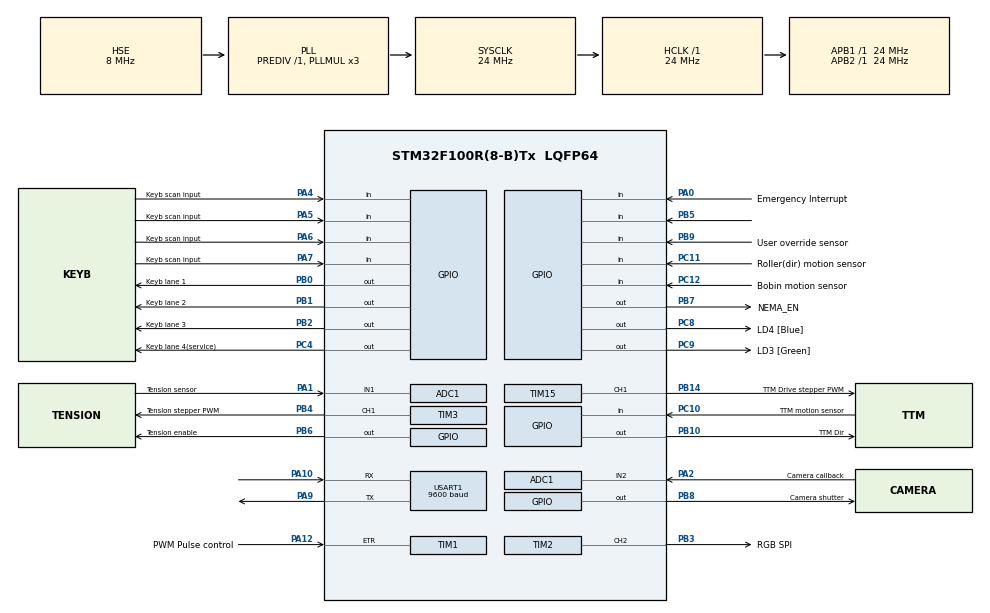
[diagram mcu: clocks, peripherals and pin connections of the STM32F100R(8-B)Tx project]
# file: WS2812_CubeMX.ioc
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ADC1.Channel-3\#ChannelRegularConversion=ADC_CHANNEL_1
ADC1.NbrOfConversionFlag=1
ADC1.Rank-3\#ChannelRegularConversion=1
ADC1.SamplingTime-3\#ChannelRegularConversion=ADC_SAMPLETIME_1CYCLE_5
ADC1.master=1
Dma.Request0=TIM2_CH2/CH4
Dma.TIM2_CH2/CH4.0.Direction=DMA_MEMORY_TO_PERIPH
Dma.TIM2_CH2/CH4.0.Instance=DMA1_Channel7
Dma.TIM2_CH2/CH4.0.MemDataAlignment=DMA_MDATAALIGN_WORD
Dma.TIM2_CH2/CH4.0.MemInc=DMA_MINC_ENABLE
Dma.TIM2_CH2/CH4.0.Mode=DMA_CIRCULAR
Dma.TIM2_CH2/CH4.0.PeriphDataAlignment=DMA_PDATAALIGN_WORD
Dma.TIM2_CH2/CH4.0.PeriphInc=DMA_PINC_DISABLE
Dma.TIM2_CH2/CH4.0.Priority=DMA_PRIORITY_LOW
Mcu.Family=STM32F1
Mcu.Name=STM32F100R(8-B)Tx
Mcu.Package=LQFP64
NVIC.DMA1_Channel7_IRQn=true\:1\:0\:true\:false\:true\:false\:true\:true
NVIC.PriorityGroup=NVIC_PRIORITYGROUP_4
NVIC.TIM1_TRG_COM_TIM17_IRQn=true\:1\:0\:true\:false\:true\:true\:true\:true
NVIC.TIM1_UP_TIM16_IRQn=true\:0\:0\:true\:false\:true\:true\:true\:true
NVIC.TIM4_IRQn=true\:0\:0\:false\:false\:true\:true\:true\:true
NVIC.TIM6_DAC_IRQn=true\:1\:0\:true\:false\:true\:true\:true\:true
NVIC.TIM7_IRQn=true\:1\:0\:true\:false\:true\:true\:true\:true
PA0-WKUP.GPIO_Label=Emergency Interrupt
PA0-WKUP.Signal=GPIO_Input
PA1.GPIO_Label=Tension sensor
PA1.Signal=ADCx_IN1
PA10.Mode=Asynchronous
PA10.Signal=USART1_RX
PA12.GPIO_Label=PWM Pulse control
PA12.Signal=S_TIM1_ETR
PA13.GPIO_Label=TMS_SWDIO
PA13.Mode=Serial_Wire
PA13.Signal=SYS_JTMS-SWDIO
PA14.GPIO_Label=TCK_SWCLK
PA14.Mode=Serial_Wire
PA14.Signal=SYS_JTCK-SWCLK
PA2.GPIO_Label=Camera callback
PA2.Signal=ADCx_IN2
PA4.GPIO_Label=Keyb scan input
PA4.GPIO_PuPd=GPIO_PULLDOWN
PA4.Signal=GPIO_Input
PA5.GPIO_Label=Keyb scan input
PA5.GPIO_PuPd=GPIO_PULLDOWN
PA5.Signal=GPIO_Input
PA6.GPIO_Label=Keyb scan input
PA6.GPIO_PuPd=GPIO_PULLDOWN
PA6.Signal=GPIO_Input
PA7.GPIO_Label=Keyb scan input
PA7.GPIO_PuPd=GPIO_PULLDOWN
PA7.Signal=GPIO_Input
PA9.Mode=Asynchronous
PA9.Signal=USART1_TX
PB0.GPIO_Label=Keyb lane 1
PB0.Signal=GPIO_Output
PB1.GPIO_Label=Keyb lane 2
PB1.Signal=GPIO_Output
PB10.GPIO_Label=TTM Dir
PB10.GPIO_PuPd=GPIO_PULLDOWN
PB10.Signal=GPIO_Output
PB14.GPIO_Label=TTM Drive stepper PWM
PB14.Signal=S_TIM15_CH1
PB2.GPIO_Label=Keyb lane 3
PB2.Signal=GPIO_Output
PB3.GPIO_Label=RGB SPI
PB3.Signal=S_TIM2_CH2
PB4.GPIO_Label=Tension stepper PWM
PB4.Signal=S_TIM3_CH1
PB5.Signal=GPIO_Input
PB6.GPIO_Label=Tension enable
PB6.Signal=GPIO_Output
PB7.GPIO_Label=NEMA_EN
PB7.Signal=GPIO_Output
PB8.GPIO_Label=Camera shutter
PB8.Signal=GPIO_Output
PB9.GPIO_Label=User override sensor
PB9.GPIO_PuPd=GPIO_PULLDOWN
PB9.Signal=GPIO_Input
PC10.GPIO_Label=TTM motion sensor
PC10.GPIO_PuPd=GPIO_PULLDOWN
PC10.Signal=GPIO_Input
PC11.GPIO_Label=Roller(dir) motion sensor
PC11.GPIO_PuPd=GPIO_PULLDOWN
PC11.Signal=GPIO_Input
PC12.GPIO_Label=Bobin motion sensor
PC12.GPIO_PuPd=GPIO_PULLDOWN
PC12.Signal=GPIO_Input
PC14-OSC32_IN.Signal=RCC_OSC32_IN
PC15-OSC32_OUT.Signal=RCC_OSC32_OUT
PC4.GPIO_Label=Keyb lane 4(service)
PC4.Signal=GPIO_Output
PC8.GPIO_Label=LD4 [Blue]
PC8.Signal=GPIO_Output
PC9.GPIO_Label=LD3 [Green]
PC9.Signal=GPIO_Output
PD0-OSC_IN.Mode=HSE-External-Oscillator
PD0-OSC_IN.Signal=RCC_OSC_IN
PD1-OSC_OUT.Mode=HSE-External-Oscillator
PD1-OSC_OUT.Signal=RCC_OSC_OUT
ProjectManager.HeapSize=0x200
ProjectManager.StackSize=0x400
ProjectManager.TargetToolchain=MDK-ARM V5.27
RCC.AHBFreq_Value=24000000
RCC.APB1Freq_Value=24000000
RCC.APB1TimFreq_Value=24000000
RCC.APB2Freq_Value=24000000
RCC.APB2TimFreq_Value=24000000
RCC.HCLKFreq_Value=24000000
RCC.PLLMUL=RCC_PLL_MUL3
RCC.PLLSource=RCC_PLLSOURCE_HSE
RCC.SYSCLKFreq_VALUE=24000000
RCC.SYSCLKSource=RCC_SYSCLKSOURCE_PLLCLK
SH.ADCx_IN1.0=ADC1_IN1,IN1
SH.ADCx_IN2.0=ADC1_IN2,IN2
SH.S_TIM15_CH1.0=TIM15_CH1,PWM Generation1 CH1
SH.S_TIM1_ETR.0=TIM1_ETR,TriggerSource_ETR
SH.S_TIM2_CH2.0=TIM2_CH2,PWM Generation2 CH2
SH.S_TIM3_CH1.0=TIM3_CH1,PWM Generation1 CH1
TIM1.Period=3200-1
TIM1.TIM_MasterOutputTrigger=TIM_TRGO_UPDATE
TIM15.Channel-PWM\ Generation1\ CH1=TIM_CHANNEL_1
TIM15.Period=2
TIM15.Prescaler=1200-1
TIM15.Pulse-PWM\ Generation1\ CH1=1
TIM16.Prescaler=24-1
TIM17.Period=10000
TIM17.Prescaler=24-1
TIM2.Channel-PWM\ Generation2\ CH2=TIM_CHANNEL_2
TIM3.Channel-PWM\ Generation1\ CH1=TIM_CHANNEL_1
TIM3.Period=4
TIM3.Prescaler=1200-1
TIM3.Pulse-PWM\ Generation1\ CH1=2
TIM3.TIM_MasterOutputTrigger=TIM_TRGO_UPDATE
TIM4.Period=50
TIM4.Prescaler=24000
TIM6.Period=500
TIM6.Prescaler=24-1
TIM7.Period=100
TIM7.Prescaler=239
TIM7.TIM_MasterOutputTrigger=TIM_TRGO_UPDATE
USART1.BaudRate=9600
USART1.VirtualMode=VM_ASYNC
VP_TIM16_VS_ClockSourceINT.Mode=Enable_Timer
VP_TIM17_VS_ClockSourceINT.Mode=Enable_Timer
VP_TIM1_VS_ControllerModeClock.Mode=Clock Mode
VP_TIM2_VS_ClockSourceINT.Mode=Internal
VP_TIM3_VS_ClockSourceINT.Mode=Internal
VP_TIM4_VS_ClockSourceINT.Mode=Internal
VP_TIM6_VS_ClockSourceINT.Mode=Enable_Timer
VP_TIM7_VS_ClockSourceINT.Mode=Enable_Timer
board=STM32VLDISCOVERY

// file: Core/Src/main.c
/* USER CODE BEGIN Header */
/**
  ******************************************************************************
  * @file           : main.c
  * @brief          : Main program body
  ******************************************************************************
  * @attention
  *
  * Copyright (c) 2024 STMicroelectronics.
  * All rights reserved.
  *
  * This software is licensed under terms that can be found in the LICENSE file
  * in the root directory of this software component.
  * If no LICENSE file comes with this software, it is provided AS-IS.
  *
  ******************************************************************************
  */
/* USER CODE END Header */
#include "main.h"

/* USER CODE BEGIN Includes */
#include <stdbool.h>
#include <stdint.h>
#include "locale_ru.h"
#include "BA63.h"
#include "HD44780_Driver.h"
#include "HD44780_UserSymbols.h"
#include "ARGB.h"
#include "timers.h"
#include "stdio.h"
/* USER CODE END Includes */

ADC_HandleTypeDef hadc1;

TIM_HandleTypeDef htim1;
TIM_HandleTypeDef htim2;
TIM_HandleTypeDef htim3;
TIM_HandleTypeDef htim4;
TIM_HandleTypeDef htim6;
TIM_HandleTypeDef htim7;
TIM_HandleTypeDef htim15;
TIM_HandleTypeDef htim16;
TIM_HandleTypeDef htim17;
DMA_HandleTypeDef hdma_tim2_ch2_ch4;

UART_HandleTypeDef huart1;

/* USER CODE BEGIN PV */
extern struct dispVBuffer{
	char first[21];
	char second[21];
	char Fbuffer[21];
	char Sbuffer[21];
	bool rendered;
}VBuf;
bool debugMode=0;
extern uint16_t RGB[3];
extern char tmp_rgb_template[21];
extern char frame_cnt[21];
/* USER CODE END PV */

void SystemClock_Config(void);
static void MX_GPIO_Init(void);
static void MX_DMA_Init(void);
static void MX_TIM6_Init(void);
static void MX_TIM2_Init(void);
static void MX_TIM7_Init(void);
static void MX_TIM3_Init(void);
static void MX_TIM1_Init(void);
static void MX_ADC1_Init(void);
static void MX_TIM15_Init(void);
static void MX_USART1_UART_Init(void);
static void MX_TIM17_Init(void);
static void MX_TIM16_Init(void);
static void MX_TIM4_Init(void);

/* USER CODE BEGIN 0 */
uint16_t timDelayMs=1;	//default definition
void WS2812_Init(void)
{
	int i;
	//for(i=DELAY_LEN;i<ARRAY_LEN;++i) BUF_DMA[i]=LOW;
}
void nema_start_part(uint16_t length)
{
	HAL_TIM_PWM_Start_IT(&htim15,TIM_CHANNEL_1);
	delay_us(length);
	HAL_TIM_PWM_Stop_IT(&htim15, TIM_CHANNEL_1);
}
void nema_start(void)
{
	HAL_TIM_PWM_Start_IT(&htim15,TIM_CHANNEL_1);
}
void nema_stop(void)
{
	HAL_TIM_PWM_Stop_IT(&htim15, TIM_CHANNEL_1);
}
void config_speed(uint16_t intial_speed, uint16_t speed, uint16_t coef)
{
	htim3.Init.Prescaler = intial_speed+speed^2+coef;
	if (HAL_TIM_Base_Init(&htim3) != HAL_OK)
	{
		HD44780_ClearLCD();
		HD44780_SetPos(0,0);
		HD44780_SendString("TIM3 PWM ERR");
		Error_Handler();
	}
}
/* USER CODE END 0 */

int main(void)
{
  /* USER CODE BEGIN 1 */
	timDelayMs=1;
	nema_dis();

	memset(VBuf.first, ' ', sizeof(VBuf.first));
	memset(VBuf.second, ' ', sizeof(VBuf.second));

	strcpy(frame_cnt, ru_frames_template);
	strcpy(tmp_rgb_template, ru_rgb_template);
  /* USER CODE END 1 */

  /* MCU Configuration--------------------------------------------------------*/

  /* Reset of all peripherals, Initializes the Flash interface and the Systick. */
  HAL_Init();

  /* Configure the system clock */
  SystemClock_Config();

  /* Initialize all configured peripherals */
  MX_GPIO_Init();
  MX_DMA_Init();
  MX_TIM6_Init();
  MX_TIM2_Init();
  MX_TIM7_Init();
  MX_TIM3_Init();
  MX_TIM1_Init();
  MX_ADC1_Init();
  MX_TIM15_Init();
  MX_USART1_UART_Init();
  MX_TIM17_Init();
  MX_TIM16_Init();
  MX_TIM4_Init();
  /* USER CODE BEGIN 2 */
	nema_dis();
	tens_dis();
	TIM16_usDelay_Init();
	ARGB_Init();
	ARGB_FillRGB(0,0,0);
	ARGB_Show();

	if(LL_GPIO_IsInputPinSet(GPIOA, LL_GPIO_PIN_0))
	{
		debugMode=1;
	}

	uint8_t deviceName[21] = "\220\220\220\222  \313\363\367-1-35  \221\220\220\220";
	uint8_t projectCode[21] = "RAIDEN MEI[V2+] 35mm";
	uint8_t fwVer[21] = "FW: BREL_0.9 09.2024";
	uint8_t author[21] = "VK:zaz128       2024";
	uint8_t del[21] = "                     ";

	HAL_Delay(100);	//Задержка для запуска внутрянки дисплея

	if(debugMode)
	{
		BA63_ClearVFD();
		BA63_SetCP(866);
		BA63_SetPos(0,0);
	}
	else
	{
		BA63_ClearVFD();
		BA63_SetCP(866);
		BA63_SetPos(0,0);
		BA63_SendString(deviceName);

		HAL_Delay(300);
		BA63_SetPos(0,1);
		BA63_SendString(projectCode);

		HAL_Delay(300);
		BA63_SetPos(0,1);
		BA63_SendString(author);

		HAL_Delay(300);
		BA63_SetPos(0,1);
		BA63_SendString(fwVer);

		HAL_Delay(600);
		//BA63_SetPos(0,1);
		//BA63_SendString(del);
	}

	//memset(VBuf.first, ' ', 21);
	if(debugMode)
	{
		BA63_ClearVFD();
	}
	else
	{
		strcpy(VBuf.second, (char*)fwVer);
		strcpy(VBuf.first, ru_rgb_template);
	}

	HAL_GPIO_WritePin(GPIOB, GPIO_PIN_10, GPIO_PIN_RESET);	//Промотка вправо

	VBuf.rendered=0;	//Вызываем рендер
	HAL_TIM_Base_Start_IT(&htim3);							//Tension control
	HAL_TIM_PWM_Start(&htim3, TIM_CHANNEL_1);		//Tesnion PWM
	HAL_TIM_Base_Start_IT(&htim7);							//Keyb scanner
	HAL_TIM_Base_Start_IT(&htim17);							//Датчик натяжения

  /* USER CODE END 2 */

  /* Infinite loop */
  while (1)
  {

  }
}

void SystemClock_Config(void)
{
  RCC_OscInitTypeDef RCC_OscInitStruct = {0};
  RCC_ClkInitTypeDef RCC_ClkInitStruct = {0};
  RCC_PeriphCLKInitTypeDef PeriphClkInit = {0};

  /** Initializes the RCC Oscillators according to the specified parameters
  * in the RCC_OscInitTypeDef structure.
  */
  RCC_OscInitStruct.OscillatorType = RCC_OSCILLATORTYPE_HSE;
  RCC_OscInitStruct.HSEState = RCC_HSE_ON;
  RCC_OscInitStruct.HSEPredivValue = RCC_HSE_PREDIV_DIV1;
  RCC_OscInitStruct.PLL.PLLState = RCC_PLL_ON;
  RCC_OscInitStruct.PLL.PLLSource = RCC_PLLSOURCE_HSE;
  RCC_OscInitStruct.PLL.PLLMUL = RCC_PLL_MUL3;
  if (HAL_RCC_OscConfig(&RCC_OscInitStruct) != HAL_OK)
  {
    Error_Handler();
  }

  /** Initializes the CPU, AHB and APB buses clocks
  */
  RCC_ClkInitStruct.ClockType = RCC_CLOCKTYPE_HCLK|RCC_CLOCKTYPE_SYSCLK
                              |RCC_CLOCKTYPE_PCLK1|RCC_CLOCKTYPE_PCLK2;
  RCC_ClkInitStruct.SYSCLKSource = RCC_SYSCLKSOURCE_PLLCLK;
  RCC_ClkInitStruct.AHBCLKDivider = RCC_SYSCLK_DIV1;
  RCC_ClkInitStruct.APB1CLKDivider = RCC_HCLK_DIV1;
  RCC_ClkInitStruct.APB2CLKDivider = RCC_HCLK_DIV1;

  if (HAL_RCC_ClockConfig(&RCC_ClkInitStruct, FLASH_LATENCY_0) != HAL_OK)
  {
    Error_Handler();
  }
  PeriphClkInit.PeriphClockSelection = RCC_PERIPHCLK_ADC;
  PeriphClkInit.AdcClockSelection = RCC_ADCPCLK2_DIV2;
  if (HAL_RCCEx_PeriphCLKConfig(&PeriphClkInit) != HAL_OK)
  {
    Error_Handler();
  }
}

static void MX_ADC1_Init(void)
{

  ADC_ChannelConfTypeDef sConfig = {0};

  /** Common config
  */
  hadc1.Instance = ADC1;
  hadc1.Init.ScanConvMode = ADC_SCAN_DISABLE;
  hadc1.Init.ContinuousConvMode = DISABLE;
  hadc1.Init.DiscontinuousConvMode = DISABLE;
  hadc1.Init.ExternalTrigConv = ADC_SOFTWARE_START;
  hadc1.Init.DataAlign = ADC_DATAALIGN_RIGHT;
  hadc1.Init.NbrOfConversion = 1;
  if (HAL_ADC_Init(&hadc1) != HAL_OK)
  {
    Error_Handler();
  }

  /** Configure Regular Channel
  */
  sConfig.Channel = ADC_CHANNEL_1;
  sConfig.Rank = ADC_REGULAR_RANK_1;
  sConfig.SamplingTime = ADC_SAMPLETIME_1CYCLE_5;
  if (HAL_ADC_ConfigChannel(&hadc1, &sConfig) != HAL_OK)
  {
    Error_Handler();
  }

}

static void MX_TIM1_Init(void)
{

  TIM_SlaveConfigTypeDef sSlaveConfig = {0};
  TIM_MasterConfigTypeDef sMasterConfig = {0};

  htim1.Instance = TIM1;
  htim1.Init.Prescaler = 0;
  htim1.Init.CounterMode = TIM_COUNTERMODE_UP;
  htim1.Init.Period = 3200-1;
  htim1.Init.ClockDivision = TIM_CLOCKDIVISION_DIV1;
  htim1.Init.RepetitionCounter = 0;
  htim1.Init.AutoReloadPreload = TIM_AUTORELOAD_PRELOAD_DISABLE;
  if (HAL_TIM_Base_Init(&htim1) != HAL_OK)
  {
    Error_Handler();
  }
  sSlaveConfig.SlaveMode = TIM_SLAVEMODE_EXTERNAL1;
  sSlaveConfig.InputTrigger = TIM_TS_ETRF;
  sSlaveConfig.TriggerPolarity = TIM_TRIGGERPOLARITY_NONINVERTED;
  sSlaveConfig.TriggerPrescaler = TIM_TRIGGERPRESCALER_DIV1;
  sSlaveConfig.TriggerFilter = 0;
  if (HAL_TIM_SlaveConfigSynchro(&htim1, &sSlaveConfig) != HAL_OK)
  {
    Error_Handler();
  }
  sMasterConfig.MasterOutputTrigger = TIM_TRGO_UPDATE;
  sMasterConfig.MasterSlaveMode = TIM_MASTERSLAVEMODE_DISABLE;
  if (HAL_TIMEx_MasterConfigSynchronization(&htim1, &sMasterConfig) != HAL_OK)
  {
    Error_Handler();
  }

}

static void MX_TIM2_Init(void)
{

  TIM_ClockConfigTypeDef sClockSourceConfig = {0};
  TIM_MasterConfigTypeDef sMasterConfig = {0};
  TIM_OC_InitTypeDef sConfigOC = {0};

  htim2.Instance = TIM2;
  htim2.Init.Prescaler = 0;
  htim2.Init.CounterMode = TIM_COUNTERMODE_UP;
  htim2.Init.Period = 65535;
  htim2.Init.ClockDivision = TIM_CLOCKDIVISION_DIV1;
  htim2.Init.AutoReloadPreload = TIM_AUTORELOAD_PRELOAD_DISABLE;
  if (HAL_TIM_Base_Init(&htim2) != HAL_OK)
  {
    Error_Handler();
  }
  sClockSourceConfig.ClockSource = TIM_CLOCKSOURCE_INTERNAL;
  if (HAL_TIM_ConfigClockSource(&htim2, &sClockSourceConfig) != HAL_OK)
  {
    Error_Handler();
  }
  if (HAL_TIM_PWM_Init(&htim2) != HAL_OK)
  {
    Error_Handler();
  }
  sMasterConfig.MasterOutputTrigger = TIM_TRGO_RESET;
  sMasterConfig.MasterSlaveMode = TIM_MASTERSLAVEMODE_DISABLE;
  if (HAL_TIMEx_MasterConfigSynchronization(&htim2, &sMasterConfig) != HAL_OK)
  {
    Error_Handler();
  }
  sConfigOC.OCMode = TIM_OCMODE_PWM1;
  sConfigOC.Pulse = 0;
  sConfigOC.OCPolarity = TIM_OCPOLARITY_HIGH;
  sConfigOC.OCFastMode = TIM_OCFAST_DISABLE;
  if (HAL_TIM_PWM_ConfigChannel(&htim2, &sConfigOC, TIM_CHANNEL_2) != HAL_OK)
  {
    Error_Handler();
  }
  HAL_TIM_MspPostInit(&htim2);

}

static void MX_TIM3_Init(void)
{

  TIM_ClockConfigTypeDef sClockSourceConfig = {0};
  TIM_MasterConfigTypeDef sMasterConfig = {0};
  TIM_OC_InitTypeDef sConfigOC = {0};

  htim3.Instance = TIM3;
  htim3.Init.Prescaler = 1200-1;
  htim3.Init.CounterMode = TIM_COUNTERMODE_UP;
  htim3.Init.Period = 4;
  htim3.Init.ClockDivision = TIM_CLOCKDIVISION_DIV1;
  htim3.Init.AutoReloadPreload = TIM_AUTORELOAD_PRELOAD_DISABLE;
  if (HAL_TIM_Base_Init(&htim3) != HAL_OK)
  {
    Error_Handler();
  }
  sClockSourceConfig.ClockSource = TIM_CLOCKSOURCE_INTERNAL;
  if (HAL_TIM_ConfigClockSource(&htim3, &sClockSourceConfig) != HAL_OK)
  {
    Error_Handler();
  }
  if (HAL_TIM_PWM_Init(&htim3) != HAL_OK)
  {
    Error_Handler();
  }
  sMasterConfig.MasterOutputTrigger = TIM_TRGO_UPDATE;
  sMasterConfig.MasterSlaveMode = TIM_MASTERSLAVEMODE_DISABLE;
  if (HAL_TIMEx_MasterConfigSynchronization(&htim3, &sMasterConfig) != HAL_OK)
  {
    Error_Handler();
  }
  sConfigOC.OCMode = TIM_OCMODE_PWM1;
  sConfigOC.Pulse = 2;
  sConfigOC.OCPolarity = TIM_OCPOLARITY_HIGH;
  sConfigOC.OCFastMode = TIM_OCFAST_DISABLE;
  if (HAL_TIM_PWM_ConfigChannel(&htim3, &sConfigOC, TIM_CHANNEL_1) != HAL_OK)
  {
    Error_Handler();
  }
  HAL_TIM_MspPostInit(&htim3);

}

static void MX_TIM4_Init(void)
{

  TIM_ClockConfigTypeDef sClockSourceConfig = {0};
  TIM_MasterConfigTypeDef sMasterConfig = {0};

  htim4.Instance = TIM4;
  htim4.Init.Prescaler = 24000-1;
  htim4.Init.CounterMode = TIM_COUNTERMODE_UP;
  htim4.Init.Period = 400;
  htim4.Init.ClockDivision = TIM_CLOCKDIVISION_DIV1;
  htim4.Init.AutoReloadPreload = TIM_AUTORELOAD_PRELOAD_DISABLE;
  if (HAL_TIM_Base_Init(&htim4) != HAL_OK)
  {
    Error_Handler();
  }
  sClockSourceConfig.ClockSource = TIM_CLOCKSOURCE_INTERNAL;
  if (HAL_TIM_ConfigClockSource(&htim4, &sClockSourceConfig) != HAL_OK)
  {
    Error_Handler();
  }
  sMasterConfig.MasterOutputTrigger = TIM_TRGO_RESET;
  sMasterConfig.MasterSlaveMode = TIM_MASTERSLAVEMODE_DISABLE;
  if (HAL_TIMEx_MasterConfigSynchronization(&htim4, &sMasterConfig) != HAL_OK)
  {
    Error_Handler();
  }

}

static void MX_TIM6_Init(void)
{

  TIM_MasterConfigTypeDef sMasterConfig = {0};

  htim6.Instance = TIM6;
  htim6.Init.Prescaler = 24-1;
  htim6.Init.CounterMode = TIM_COUNTERMODE_UP;
  htim6.Init.Period = 500;
  htim6.Init.AutoReloadPreload = TIM_AUTORELOAD_PRELOAD_DISABLE;
  if (HAL_TIM_Base_Init(&htim6) != HAL_OK)
  {
    Error_Handler();
  }
  sMasterConfig.MasterOutputTrigger = TIM_TRGO_RESET;
  sMasterConfig.MasterSlaveMode = TIM_MASTERSLAVEMODE_DISABLE;
  if (HAL_TIMEx_MasterConfigSynchronization(&htim6, &sMasterConfig) != HAL_OK)
  {
    Error_Handler();
  }

}

static void MX_TIM7_Init(void)
{

  TIM_MasterConfigTypeDef sMasterConfig = {0};

  htim7.Instance = TIM7;
  htim7.Init.Prescaler = 239;
  htim7.Init.CounterMode = TIM_COUNTERMODE_UP;
  htim7.Init.Period = 100;
  htim7.Init.AutoReloadPreload = TIM_AUTORELOAD_PRELOAD_DISABLE;
  if (HAL_TIM_Base_Init(&htim7) != HAL_OK)
  {
    Error_Handler();
  }
  sMasterConfig.MasterOutputTrigger = TIM_TRGO_UPDATE;
  sMasterConfig.MasterSlaveMode = TIM_MASTERSLAVEMODE_DISABLE;
  if (HAL_TIMEx_MasterConfigSynchronization(&htim7, &sMasterConfig) != HAL_OK)
  {
    Error_Handler();
  }

}

static void MX_TIM15_Init(void)
{

  TIM_MasterConfigTypeDef sMasterConfig = {0};
  TIM_OC_InitTypeDef sConfigOC = {0};
  TIM_BreakDeadTimeConfigTypeDef sBreakDeadTimeConfig = {0};

  htim15.Instance = TIM15;
  htim15.Init.Prescaler = 1200-1;
  htim15.Init.CounterMode = TIM_COUNTERMODE_UP;
  htim15.Init.Period = 2;
  htim15.Init.ClockDivision = TIM_CLOCKDIVISION_DIV1;
  htim15.Init.RepetitionCounter = 0;
  htim15.Init.AutoReloadPreload = TIM_AUTORELOAD_PRELOAD_DISABLE;
  if (HAL_TIM_PWM_Init(&htim15) != HAL_OK)
  {
    Error_Handler();
  }
  sMasterConfig.MasterOutputTrigger = TIM_TRGO_RESET;
  sMasterConfig.MasterSlaveMode = TIM_MASTERSLAVEMODE_DISABLE;
  if (HAL_TIMEx_MasterConfigSynchronization(&htim15, &sMasterConfig) != HAL_OK)
  {
    Error_Handler();
  }
  sConfigOC.OCMode = TIM_OCMODE_PWM1;
  sConfigOC.Pulse = 1;
  sConfigOC.OCPolarity = TIM_OCPOLARITY_HIGH;
  sConfigOC.OCNPolarity = TIM_OCNPOLARITY_HIGH;
  sConfigOC.OCFastMode = TIM_OCFAST_DISABLE;
  sConfigOC.OCIdleState = TIM_OCIDLESTATE_RESET;
  sConfigOC.OCNIdleState = TIM_OCNIDLESTATE_RESET;
  if (HAL_TIM_PWM_ConfigChannel(&htim15, &sConfigOC, TIM_CHANNEL_1) != HAL_OK)
  {
    Error_Handler();
  }
  sBreakDeadTimeConfig.OffStateRunMode = TIM_OSSR_DISABLE;
  sBreakDeadTimeConfig.OffStateIDLEMode = TIM_OSSI_DISABLE;
  sBreakDeadTimeConfig.LockLevel = TIM_LOCKLEVEL_OFF;
  sBreakDeadTimeConfig.DeadTime = 0;
  sBreakDeadTimeConfig.BreakState = TIM_BREAK_DISABLE;
  sBreakDeadTimeConfig.BreakPolarity = TIM_BREAKPOLARITY_HIGH;
  sBreakDeadTimeConfig.AutomaticOutput = TIM_AUTOMATICOUTPUT_DISABLE;
  if (HAL_TIMEx_ConfigBreakDeadTime(&htim15, &sBreakDeadTimeConfig) != HAL_OK)
  {
    Error_Handler();
  }
  HAL_TIM_MspPostInit(&htim15);

}

static void MX_TIM16_Init(void)
{

  htim16.Instance = TIM16;
  htim16.Init.Prescaler = 24-1;
  htim16.Init.CounterMode = TIM_COUNTERMODE_UP;
  htim16.Init.Period = 65535;
  htim16.Init.ClockDivision = TIM_CLOCKDIVISION_DIV1;
  htim16.Init.RepetitionCounter = 0;
  htim16.Init.AutoReloadPreload = TIM_AUTORELOAD_PRELOAD_DISABLE;
  if (HAL_TIM_Base_Init(&htim16) != HAL_OK)
  {
    Error_Handler();
  }

}

static void MX_TIM17_Init(void)
{

  htim17.Instance = TIM17;
  htim17.Init.Prescaler = 24-1;
  htim17.Init.CounterMode = TIM_COUNTERMODE_UP;
  htim17.Init.Period = 10000;
  htim17.Init.ClockDivision = TIM_CLOCKDIVISION_DIV1;
  htim17.Init.RepetitionCounter = 0;
  htim17.Init.AutoReloadPreload = TIM_AUTORELOAD_PRELOAD_DISABLE;
  if (HAL_TIM_Base_Init(&htim17) != HAL_OK)
  {
    Error_Handler();
  }

}

static void MX_USART1_UART_Init(void)
{

  huart1.Instance = USART1;
  huart1.Init.BaudRate = 9600;
  huart1.Init.WordLength = UART_WORDLENGTH_8B;
  huart1.Init.StopBits = UART_STOPBITS_1;
  huart1.Init.Parity = UART_PARITY_NONE;
  huart1.Init.Mode = UART_MODE_TX_RX;
  huart1.Init.HwFlowCtl = UART_HWCONTROL_NONE;
  huart1.Init.OverSampling = UART_OVERSAMPLING_16;
  if (HAL_UART_Init(&huart1) != HAL_OK)
  {
    Error_Handler();
  }

}

static void MX_DMA_Init(void)
{

  /* DMA controller clock enable */
  __HAL_RCC_DMA1_CLK_ENABLE();

  /* DMA interrupt init */
  /* DMA1_Channel7_IRQn interrupt configuration */
  HAL_NVIC_SetPriority(DMA1_Channel7_IRQn, 1, 0);
  HAL_NVIC_EnableIRQ(DMA1_Channel7_IRQn);

}

static void MX_GPIO_Init(void)
{
  LL_GPIO_InitTypeDef GPIO_InitStruct = {0};

  /* GPIO Ports Clock Enable */
  LL_APB2_GRP1_EnableClock(LL_APB2_GRP1_PERIPH_GPIOC);
  LL_APB2_GRP1_EnableClock(LL_APB2_GRP1_PERIPH_GPIOD);
  LL_APB2_GRP1_EnableClock(LL_APB2_GRP1_PERIPH_GPIOA);
  LL_APB2_GRP1_EnableClock(LL_APB2_GRP1_PERIPH_GPIOB);

  /**/
  LL_GPIO_ResetOutputPin(GPIOC, Keyb_lane_4_Pin|LD4_Pin|LD3_Pin);

  /**/
  LL_GPIO_ResetOutputPin(GPIOB, Keyb_lane_1_Pin|Keyb_lane_2_Pin|Keyb_lane_3_Pin|TTM_Dir_Pin
                          |Film_sensor_Pin|Tension_enable_Pin|NEMA_EN_Pin|Camera_shutter_Pin);

  /**/
  GPIO_InitStruct.Pin = Emergency_Interrupt_Pin;
  GPIO_InitStruct.Mode = LL_GPIO_MODE_FLOATING;
  LL_GPIO_Init(Emergency_Interrupt_GPIO_Port, &GPIO_InitStruct);

  /**/
  GPIO_InitStruct.Pin = Keyb_scan_input_Pin|Keyb_scan_inputA5_Pin|Keyb_scan_inputA6_Pin|Keyb_scan_inputA7_Pin;
  GPIO_InitStruct.Mode = LL_GPIO_MODE_INPUT;
  GPIO_InitStruct.Pull = LL_GPIO_PULL_DOWN;
  LL_GPIO_Init(GPIOA, &GPIO_InitStruct);

  /**/
  GPIO_InitStruct.Pin = Keyb_lane_4_Pin|LD4_Pin|LD3_Pin;
  GPIO_InitStruct.Mode = LL_GPIO_MODE_OUTPUT;
  GPIO_InitStruct.Speed = LL_GPIO_SPEED_FREQ_LOW;
  GPIO_InitStruct.OutputType = LL_GPIO_OUTPUT_PUSHPULL;
  LL_GPIO_Init(GPIOC, &GPIO_InitStruct);

  /**/
  GPIO_InitStruct.Pin = Keyb_lane_1_Pin|Keyb_lane_2_Pin|Keyb_lane_3_Pin|Film_sensor_Pin
                          |Tension_enable_Pin|NEMA_EN_Pin|Camera_shutter_Pin;
  GPIO_InitStruct.Mode = LL_GPIO_MODE_OUTPUT;
  GPIO_InitStruct.Speed = LL_GPIO_SPEED_FREQ_LOW;
  GPIO_InitStruct.OutputType = LL_GPIO_OUTPUT_PUSHPULL;
  LL_GPIO_Init(GPIOB, &GPIO_InitStruct);

  /**/
  GPIO_InitStruct.Pin = TTM_Dir_Pin;
  GPIO_InitStruct.Mode = LL_GPIO_MODE_OUTPUT;
  GPIO_InitStruct.Speed = LL_GPIO_SPEED_FREQ_LOW;
  GPIO_InitStruct.OutputType = LL_GPIO_OUTPUT_PUSHPULL;
  GPIO_InitStruct.Pull = LL_GPIO_PULL_DOWN;
  LL_GPIO_Init(TTM_Dir_GPIO_Port, &GPIO_InitStruct);

  /**/
  GPIO_InitStruct.Pin = TTM_motion_sensor_Pin|Roller_motion_sensor_Pin|Bobin_motion_sensor_Pin;
  GPIO_InitStruct.Mode = LL_GPIO_MODE_INPUT;
  GPIO_InitStruct.Pull = LL_GPIO_PULL_DOWN;
  LL_GPIO_Init(GPIOC, &GPIO_InitStruct);

  /**/
  GPIO_InitStruct.Pin = User_override_sensor_Pin;
  GPIO_InitStruct.Mode = LL_GPIO_MODE_INPUT;
  GPIO_InitStruct.Pull = LL_GPIO_PULL_DOWN;
  LL_GPIO_Init(User_override_sensor_GPIO_Port, &GPIO_InitStruct);

}

void Error_Handler(void)
{
  __disable_irq();
  while (1)
  {
  }
}
